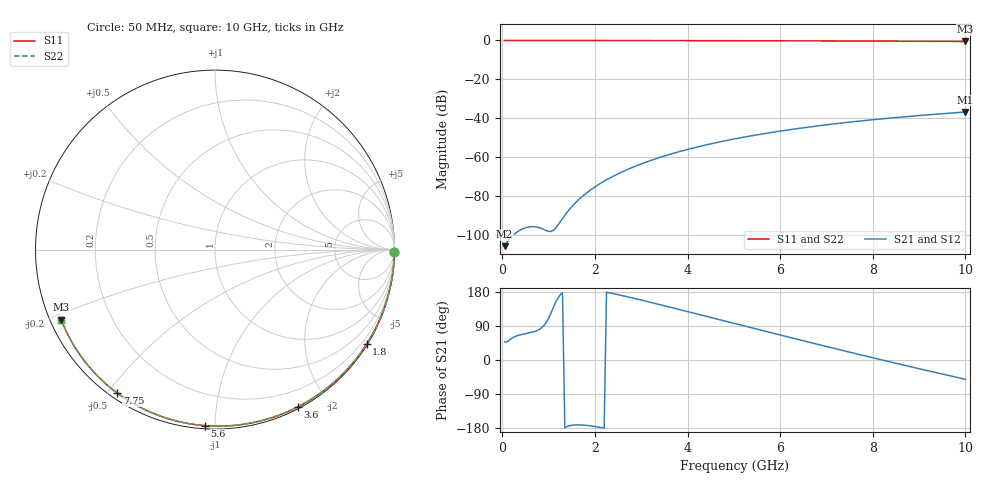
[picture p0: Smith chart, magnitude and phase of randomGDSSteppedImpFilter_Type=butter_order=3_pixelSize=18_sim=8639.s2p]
! freq	dB(S11)	phase(S11)	dB(S12)	phase(S12)
!  dB(S21)	phase(S21)	dB(S22)	phase(S22)
!S-par simulation data
#  GHz  S  DB  R 50
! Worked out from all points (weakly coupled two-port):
!   200 points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, 50 MHz to 10 GHz, reference 50 ohm
!   highest |S21| = -36.74 dB at 10 GHz (marker M1); lowest = -105.6 dB at 50 MHz (marker M2)
!   lowest |S11| = -0.5 dB at 10 GHz (marker M3), VSWR 33.14, Z = 1.58 - j10.8 ohm
!   |S11| at or under -10 dB: nowhere
!   |S22| runs from -0.5 to 0.0 dB; largest |S21 - S12| = 0
!   S11 on the Smith chart (normalised r, x): 50 MHz: open; 1.8 GHz: 0.03, -3.49; 3.6 GHz: 0.02, -1.66; 5.6 GHz: 0.02, -0.94; 7.75 GHz: 0.02, -0.53; 10 GHz: 0.03, -0.22
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0.05  -0.00 -0.9  -105.61 48.1  -105.61 48.1  -0.00 -0.9
0.45  -0.01 -8.1  -96.60 68.3  -96.60 68.3  -0.01 -8.1
0.9  -0.02 -16.2  -97.06 91.1  -97.06 91.1  -0.02 -16.2
1.7  -0.04 -30.2  -80.64 -171.4  -80.64 -171.4  -0.04 -30.2
1.75  -0.04 -31.1  -79.63 -171.7  -79.63 -171.7  -0.04 -31.1
1.8  -0.04 -32.0  -78.66 -172.3  -78.66 -172.3  -0.04 -32.0
1.95  -0.04 -34.6  -76.01 -174.6  -76.01 -174.6  -0.04 -34.6
2.1  -0.05 -37.2  -73.66 -177.6  -73.66 -177.6  -0.05 -37.2
2.3  -0.05 -40.6  -70.90 177.7  -70.90 177.7  -0.05 -40.6
2.5  -0.06 -44.0  -68.47 172.5  -68.47 172.5  -0.06 -44.0
2.9  -0.07 -50.7  -64.31 161.2  -64.31 161.2  -0.07 -50.7
3.4  -0.08 -59.0  -60.07 146.2  -60.07 146.2  -0.08 -59.0
3.6  -0.08 -62.3  -58.60 140.1  -58.60 140.1  -0.08 -62.3
4.3  -0.10 -73.5  -54.17 118.4  -54.17 118.4  -0.10 -73.5
5.05  -0.13 -85.1  -50.38 95.1  -50.38 95.1  -0.13 -85.1
5.6  -0.15 -93.3  -48.05 78.2  -48.05 78.2  -0.15 -93.3
6.15  -0.18 -101.4  -46.01 61.3  -46.01 61.3  -0.18 -101.4
6.7  -0.21 -109.4  -44.20 44.6  -44.20 44.6  -0.21 -109.4
7.75  -0.29 -124.2  -41.30 13.3  -41.30 13.3  -0.29 -124.2
8.35  -0.34 -132.5  -39.90 -4.3  -39.90 -4.3  -0.34 -132.5
9.2  -0.43 -144.3  -38.16 -28.6  -38.16 -28.6  -0.43 -144.3
10  -0.52 -155.6  -36.74 -51.0  -36.74 -51.0  -0.52 -155.6
